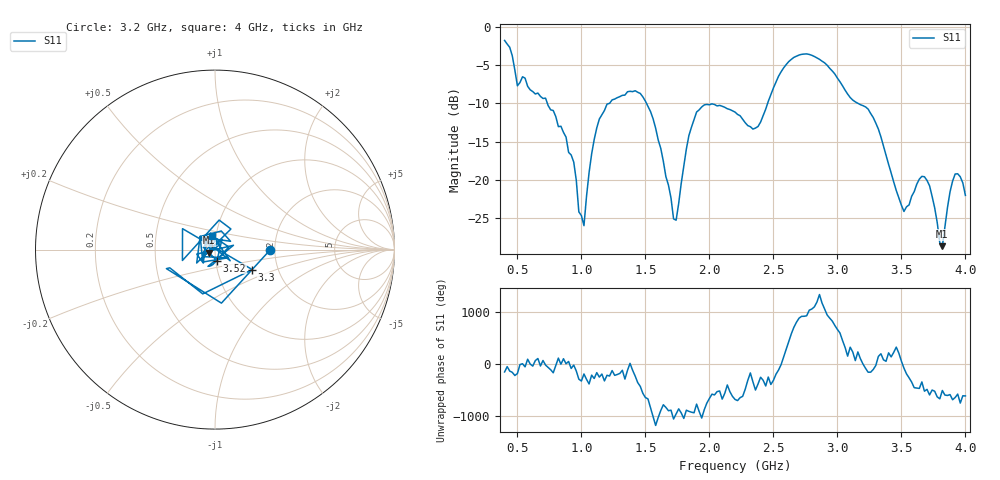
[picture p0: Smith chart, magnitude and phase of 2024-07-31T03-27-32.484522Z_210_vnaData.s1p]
!Created with skrf (http://scikit-rf.org).
# Hz S RI R 50.0
!freq ReS11 ImS11
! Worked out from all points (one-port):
!   181 points, 400 MHz to 4 GHz, reference 50 ohm
!   lowest |S11| = -28.7 dB at 3.82 GHz (marker M1), VSWR 1.08, Z = 46.8 - j1.58 ohm
!   |S11| at or under -10 dB: 734.4 MHz to 1.216 GHz (481.6 MHz wide, 49.4 % of centre); 1.509 GHz to 2.455 GHz (945.6 MHz wide, 47.7 % of centre); 3.162 GHz to end of sweep
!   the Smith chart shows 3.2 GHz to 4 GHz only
!   S11 on the Smith chart (normalised r, x): 3.2 GHz: 1.88, -0.01; 3.3 GHz: 1.47, -0.35; 3.52 GHz: 1.01, -0.12; 4 GHz: 0.96, +0.15
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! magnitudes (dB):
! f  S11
! 400 MHz  -1.8
! 500 MHz  -7.7
! 720 MHz  -9.3
! 860 MHz  -13.8
! 940 MHz  -17.7
! 980 MHz  -24.2
! 1.02 GHz  -26.0
! 1.12 GHz  -13.2
! 1.3 GHz  -9.1
! 1.5 GHz  -9.7
! 1.62 GHz  -15.9
! 1.72 GHz  -25.1
! 1.76 GHz  -23.1
! 1.84 GHz  -14.2
! 1.9 GHz  -11.1
! 2.2 GHz  -11.1
! 2.38 GHz  -13.0
! 2.66 GHz  -4.0
! 2.9 GHz  -4.7
! 3.1 GHz  -9.2
! 3.2 GHz  -10.3
! 3.3 GHz  -12.6
! 3.52 GHz  -24.1
! 3.56 GHz  -23.3
! 3.68 GHz  -19.6
! 3.82 GHz  -28.7
! 3.92 GHz  -19.2
! 4 GHz  -22.0
